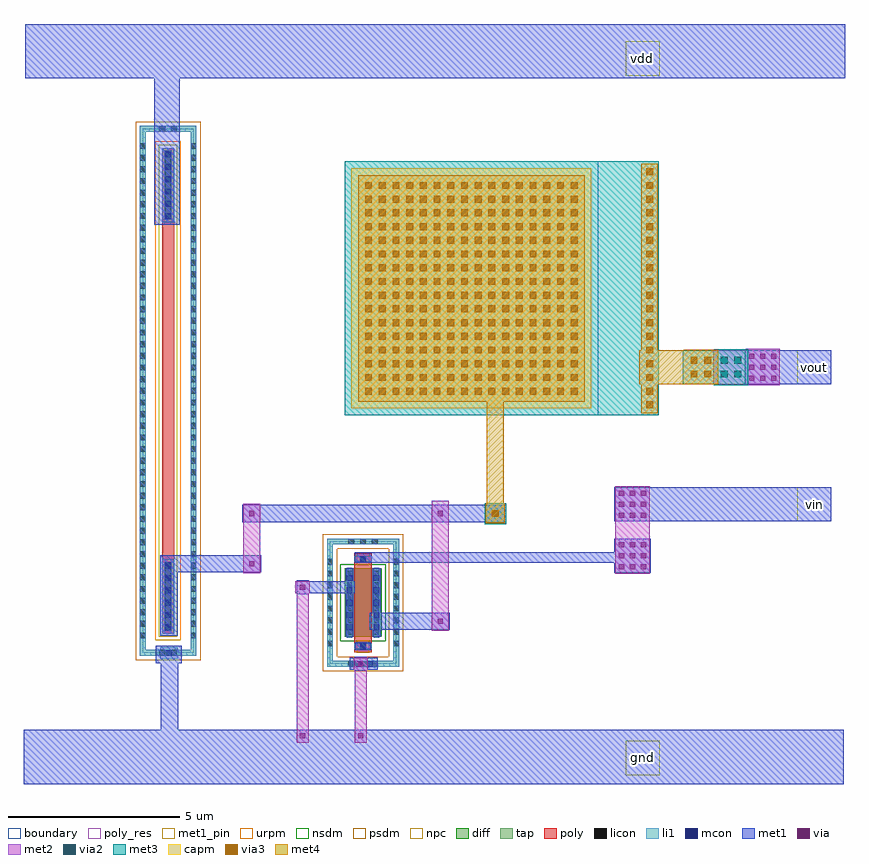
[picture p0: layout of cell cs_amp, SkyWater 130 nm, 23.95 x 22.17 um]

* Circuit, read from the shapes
.subckt cs_amp gnd vdd vin vout
XM1 sky130_fd_pr__cap_mim_m3_1_S9G3Y7_0/C1 vin gnd gnd sky130_fd_pr__nfet_01v8 w=2 l=0.5
XC2 sky130_fd_pr__cap_mim_m3_1_S9G3Y7_0/C1 vout sky130_fd_pr__cap_mim_m3_1 w=7 l=7
XR3 vdd sky130_fd_pr__cap_mim_m3_1_S9G3Y7_0/C1 gnd sky130_fd_pr__res_xhigh_po w=0.35 l=9.88
.ends

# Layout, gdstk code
import gdstk
lib = gdstk.Library(unit=1e-6, precision=1e-09)
def R(c, l, rs):  # rectangles x0, y0, x1, y1
    for r in rs: c.add(gdstk.rectangle(r[:2], r[2:], *l))
def A(c, l, x, y, w, h, nx, ny, dx, dy):  # array of equal rectangles
    R(c, l, [(x+i*dx, y+j*dy, x+i*dx+w, y+j*dy+h) for i in range(nx) for j in range(ny)])
diff = (65, 20)
tap = (65, 44)
poly_res = (66, 13)
poly = (66, 20)
licon = (66, 44)
li1 = (67, 20)
mcon = (67, 44)
met1_pin = (68, 16)
met1 = (68, 20)
via = (68, 44)
met2 = (69, 20)
via2 = (69, 44)
met3 = (70, 20)
via3 = (70, 44)
met4 = (71, 20)
urpm = (79, 20)
capm = (89, 44)
nsdm = (93, 44)
psdm = (94, 20)
npc = (95, 20)
boundary = (235, 4)

sky130_fd_pr__cap_mim_m3 = lib.new_cell('sky130_fd_pr__cap_mim_m3_1_S9G3Y7')
R(sky130_fd_pr__cap_mim_m3, met3, [(-4.58,-3.7,4.58,3.7)])
A(sky130_fd_pr__cap_mim_m3, via3, 4.22, -3.5, 0.2, 0.2, 1, 18, 0, 0.4)
A(sky130_fd_pr__cap_mim_m3, via3, -3.98, -3.1, 0.2, 0.2, 16, 16, 0.4, 0.4)
R(sky130_fd_pr__cap_mim_m3, met4, [(4.08,-3.64,4.56,3.64), (-4.185,-3.305,2.425,3.305)])
R(sky130_fd_pr__cap_mim_m3, capm, [(-4.38,-3.5,2.62,3.5)])
R(sky130_fd_pr__cap_mim_m3, boundary, [(-4.58,-3.7,2.82,3.7)])
sky130_fd_pr__cap_mim_m3.add(gdstk.Label('C2', (4.32,0), layer=71, texttype=5))
sky130_fd_pr__cap_mim_m3.add(gdstk.Label('C1', (-0.88,0), layer=71, texttype=5))

sky130_fd_pr__res_xhigh_ = lib.new_cell('sky130_fd_pr__res_xhigh_po_0p35_MF2KHA')
R(sky130_fd_pr__res_xhigh_, tap, [(-0.825,-7.73,0.825,-7.56), (-0.825,-7.56,-0.655,7.56), (0.655,-7.56,0.825,7.56), (-0.825,7.56,0.825,7.73)])
R(sky130_fd_pr__res_xhigh_, poly_res, [(-0.175,-5,0.175,5)])
R(sky130_fd_pr__res_xhigh_, poly, [(-0.175,-7.08,0.175,7.08)])
A(sky130_fd_pr__res_xhigh_, licon, -0.825, -7.225, 0.17, 0.17, 1, 43, 0, 0.34)
A(sky130_fd_pr__res_xhigh_, licon, 0.655, -7.225, 0.17, 0.17, 1, 43, 0, 0.34)
R(sky130_fd_pr__res_xhigh_, licon, [(-0.255,-7.73,-0.085,-7.56), (0.085,-7.73,0.255,-7.56), (-0.095,-7,0.095,-5), (-0.095,5,0.095,7), (-0.255,7.56,-0.085,7.73), (0.085,7.56,0.255,7.73)])
R(sky130_fd_pr__res_xhigh_, li1, [(-0.825,-7.73,0.825,-7.56), (-0.825,-7.56,-0.655,7.56), (0.655,-7.56,0.825,7.56), (-0.175,-7.08,0.175,-4.92), (-0.175,4.92,0.175,7.08), (-0.825,7.56,0.825,7.73)])
A(sky130_fd_pr__res_xhigh_, mcon, -0.085, -6.985, 0.17, 0.17, 1, 6, 0, 0.36)
A(sky130_fd_pr__res_xhigh_, mcon, -0.085, 5.01, 0.17, 0.17, 1, 6, 0, 0.36)
R(sky130_fd_pr__res_xhigh_, met1, [(-0.125,-7.05,0.125,-4.945), (-0.125,4.945,0.125,7.05)])
R(sky130_fd_pr__res_xhigh_, urpm, [(-0.375,-7.28,0.375,7.28)])
R(sky130_fd_pr__res_xhigh_, psdm, [(-0.95,-7.855,0.95,7.855)])
R(sky130_fd_pr__res_xhigh_, npc, [(-0.27,-7.175,0.27,7.175)])
R(sky130_fd_pr__res_xhigh_, boundary, [(-0.74,-7.645,0.74,7.645)])
sky130_fd_pr__res_xhigh_.add(gdstk.Label('B', (0,-7.645), layer=67, texttype=5))
sky130_fd_pr__res_xhigh_.add(gdstk.Label('R1', (0,6.905), layer=67, texttype=5))
sky130_fd_pr__res_xhigh_.add(gdstk.Label('R2', (0,-6.905), layer=67, texttype=5))

sky130_fd_pr__nfet_01v8_ = lib.new_cell('sky130_fd_pr__nfet_01v8_TBXCQX')
R(sky130_fd_pr__nfet_01v8_, diff, [(-0.54,-1,0.54,1)])
R(sky130_fd_pr__nfet_01v8_, tap, [(-1.05,-1.87,1.05,-1.7), (-1.05,-1.7,-0.88,1.7), (0.88,-1.7,1.05,1.7), (-1.05,1.7,1.05,1.87)])
R(sky130_fd_pr__nfet_01v8_, poly, [(-0.25,-1.44,0.25,1.44)])
A(sky130_fd_pr__nfet_01v8_, licon, -0.425, -1.87, 0.17, 0.17, 3, 2, 0.34, 3.57)
A(sky130_fd_pr__nfet_01v8_, licon, -1.05, -1.275, 0.17, 0.17, 1, 8, 0, 0.34)
A(sky130_fd_pr__nfet_01v8_, licon, 0.88, -1.275, 0.17, 0.17, 1, 8, 0, 0.34)
A(sky130_fd_pr__nfet_01v8_, licon, -0.48, -0.935, 0.17, 0.17, 1, 6, 0, 0.34)
A(sky130_fd_pr__nfet_01v8_, licon, 0.31, -0.935, 0.17, 0.17, 1, 6, 0, 0.34)
R(sky130_fd_pr__nfet_01v8_, licon, [(-0.085,-1.36,0.085,-1.19), (-0.085,1.19,0.085,1.36)])
R(sky130_fd_pr__nfet_01v8_, li1, [(-1.05,-1.87,1.05,-1.7), (-1.05,-1.7,-0.88,1.7), (0.88,-1.7,1.05,1.7), (-0.25,-1.36,0.25,-1.19), (-0.48,-1.02,-0.31,1.02), (0.31,-1.02,0.48,1.02), (-0.25,1.19,0.25,1.36), (-1.05,1.7,1.05,1.87)])
A(sky130_fd_pr__nfet_01v8_, mcon, -0.48, -0.805, 0.17, 0.17, 1, 5, 0, 0.36)
A(sky130_fd_pr__nfet_01v8_, mcon, 0.31, -0.805, 0.17, 0.17, 1, 5, 0, 0.36)
R(sky130_fd_pr__nfet_01v8_, mcon, [(-0.085,-1.36,0.085,-1.19), (-0.085,1.19,0.085,1.36)])
R(sky130_fd_pr__nfet_01v8_, met1, [(-0.23,-1.39,0.23,-1.16), (-0.51,-1,-0.28,1), (0.28,-1,0.51,1), (-0.23,1.16,0.23,1.39)])
R(sky130_fd_pr__nfet_01v8_, nsdm, [(-0.665,-1.125,0.665,1.125)])
R(sky130_fd_pr__nfet_01v8_, psdm, [(-1.175,-1.995,1.175,-1.575), (-1.175,-1.575,-0.755,1.575), (0.755,-1.575,1.175,1.575), (-1.175,1.575,1.175,1.995)])
R(sky130_fd_pr__nfet_01v8_, npc, [(-0.185,-1.46,0.185,-1.09), (-0.185,1.09,0.185,1.46)])
R(sky130_fd_pr__nfet_01v8_, boundary, [(-0.965,-1.785,0.965,1.785)])
sky130_fd_pr__nfet_01v8_.add(gdstk.Label('B', (0,-1.785), layer=67, texttype=5))
sky130_fd_pr__nfet_01v8_.add(gdstk.Label('D', (-0.395,0), layer=67, texttype=5))
sky130_fd_pr__nfet_01v8_.add(gdstk.Label('S', (0.395,0), layer=67, texttype=5))
sky130_fd_pr__nfet_01v8_.add(gdstk.Label('G', (0,1.275), layer=67, texttype=5))

cs_amp = lib.new_cell('cs_amp')
R(cs_amp, li1, [(-5,-3.26,-4.28,-3.06), (-10.57,-3.01,-10.07,-2.67)])
R(cs_amp, mcon, [(-4.905,-3.245,-4.735,-3.075), (-4.545,-3.245,-4.375,-3.075), (-10.405,-2.925,-10.235,-2.755)])
R(cs_amp, met1_pin, [(3,-6.4,4,-5.4), (8,1,9,2), (8,5,9,6), (3,14,4,15)])
R(cs_amp, met1, [(-14.55,-6.66,9.36,-5.08), (-10.56,-5.08,-10.055,-3.14), (-6.63,-5.08,-6.22,-5.075), (-4.93,-5.08,-4.525,-5.075), (-4.905,-3.36,-4.555,-3.33), (-5.05,-3.33,-4.23,-2.98), (-10.71,-3.14,-9.95,-2.63), (-4.905,-2.98,-4.555,-2.95), (-10.57,-2.33,-10.07,-0.48), (-4.46,-2.16,-2.13,-1.66), (-6.6,-1.13,-6.25,-1.1), (-6.6,-1.1,-4.9,-0.75), (-6.6,-0.75,-6.25,-0.72), (2.67,-0.5,3.73,-0.2), (-10.57,-0.48,-7.63,0.02), (-4.9,-0.2,3.73,0.1), (2.67,0.1,3.73,0.5), (-8.19,0.98,-0.52,1.48), (2.67,1,9,2), (6.47,5,9,6), (-10.75,9.65,-10.01,13.93), (-14.51,13.93,9.4,15.51)])
A(cs_amp, via, 2.805, -0.395, 0.15, 0.15, 3, 3, 0.32, 0.32)
A(cs_amp, via, 2.805, 1.105, 0.15, 0.15, 3, 3, 0.32, 0.32)
A(cs_amp, via, 6.605, 5.105, 0.15, 0.15, 3, 3, 0.32, 0.32)
R(cs_amp, via, [(-6.5,-5.325,-6.35,-5.175), (-4.805,-5.325,-4.655,-5.175), (-4.805,-3.23,-4.655,-3.08), (-2.485,-1.985,-2.335,-1.835), (-6.5,-1,-6.35,-0.85), (-7.985,-0.305,-7.835,-0.155), (-7.985,1.155,-7.835,1.305), (-2.485,1.155,-2.335,1.305), (-0.875,1.155,-0.725,1.305)])
R(cs_amp, met2, [(-6.6,-5.455,-6.25,-1.1), (-4.9,-5.45,-4.555,-3.33), (-4.935,-3.33,-4.525,-2.98), (-2.66,-2.19,-2.16,1.6), (-6.63,-1.1,-6.22,-0.75), (2.7,-0.53,3.7,2.03), (-8.16,-0.51,-7.66,1.51), (-1.11,0.915,-0.475,1.535), (6.5,4.97,7.5,5), (5.555,5,7.5,6), (6.5,6,7.5,6.03)])
R(cs_amp, via2, [(-0.9,1.13,-0.7,1.33), (5.775,5.2,5.975,5.4), (6.175,5.2,6.375,5.4), (5.775,5.6,5.975,5.8), (6.175,5.6,6.375,5.8)])
R(cs_amp, met3, [(-1.11,0.915,-0.475,1.535), (5.575,4.975,6.575,5), (4.67,5,6.575,6), (5.575,6,6.575,6.025)])
R(cs_amp, via3, [(-0.9,1.13,-0.7,1.33), (4.895,5.2,5.095,5.4), (5.295,5.2,5.495,5.4), (4.895,5.6,5.095,5.8), (5.295,5.6,5.495,5.8)])
R(cs_amp, met4, [(-1.08,0.95,-0.52,1.51), (-1.05,1.51,-0.55,5.65), (4.695,4.995,5.695,5), (3.4,5,5.695,6), (4.695,6,5.695,6.005)])
cs_amp.add(gdstk.Reference(sky130_fd_pr__cap_mim_m3, (-0.62,7.8)))
cs_amp.add(gdstk.Reference(sky130_fd_pr__res_xhigh_, (-10.345,4.81)))
cs_amp.add(gdstk.Reference(sky130_fd_pr__nfet_01v8_, (-4.66,-1.37)))
cs_amp.add(gdstk.Label('vin', (8.5,1.5), layer=68, texttype=5))
cs_amp.add(gdstk.Label('vout', (8.5,5.5), layer=68, texttype=5))
cs_amp.add(gdstk.Label('vdd', (3.5,14.5), layer=68, texttype=5))
cs_amp.add(gdstk.Label('gnd', (3.5,-5.9), layer=68, texttype=5))

lib.write_gds('cs_amp.gds')
